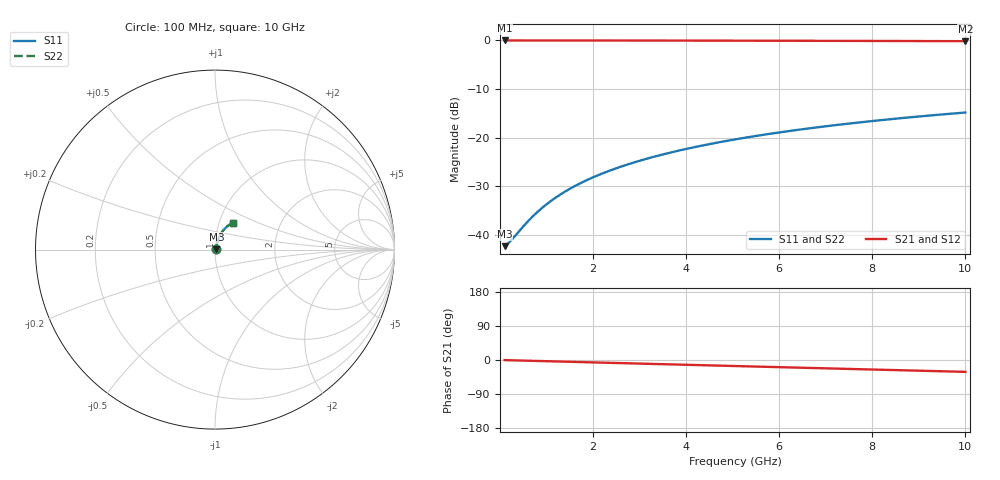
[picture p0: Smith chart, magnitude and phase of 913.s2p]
# Hz S RI R 50.00
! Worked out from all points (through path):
!   100 points, 100 MHz to 10 GHz, reference 50 ohm
!   highest |S21| = -0.06 dB at 100 MHz (marker M1); lowest = -0.2 dB at 10 GHz (marker M2)
!   group delay of S21, straight-line fit = 8.7 ps
!   lowest |S11| = -42.3 dB at 100 MHz (marker M3), VSWR 1.02, Z = 50.7 + j0.191 ohm
!   |S11| at or under -10 dB: start of sweep to end of sweep
!   |S22| runs from -42.3 to -14.9 dB; largest |S21 - S12| = 0
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1e8  0.00744 0.00188  0.9925 -0.00547  0.9925 -0.00547  0.00744 0.00188
2e8  0.00752 0.00376  0.9924 -0.0109  0.9924 -0.0109  0.00752 0.00376
3e8  0.00761 0.00563  0.9923 -0.0164  0.9923 -0.0164  0.00761 0.00563
5e8  0.00782 0.00938  0.992 -0.0273  0.992 -0.0273  0.00782 0.00938
7e8  0.00811 0.0131  0.9915 -0.0383  0.9915 -0.0383  0.00811 0.0131
9e8  0.00848 0.0169  0.991 -0.0492  0.991 -0.0492  0.00848 0.0169
1.1e9  0.00892 0.0206  0.9903 -0.0601  0.9903 -0.0601  0.00892 0.0206
1.3e9  0.00944 0.0243  0.9894 -0.071  0.9894 -0.071  0.00944 0.0243
1.5e9  0.01 0.028  0.9885 -0.0819  0.9885 -0.0819  0.01 0.028
1.8e9  0.0111 0.0335  0.9867 -0.0982  0.9867 -0.0982  0.0111 0.0335
2.1e9  0.0123 0.039  0.9847 -0.1145  0.9847 -0.1145  0.0123 0.039
2.5e9  0.0142 0.0463  0.9816 -0.1361  0.9816 -0.1361  0.0142 0.0463
2.9e9  0.0165 0.0534  0.978 -0.1576  0.978 -0.1576  0.0165 0.0534
3.4e9  0.0197 0.0622  0.9727 -0.1843  0.9727 -0.1843  0.0197 0.0622
3.8e9  0.0226 0.0691  0.9679 -0.2055  0.9679 -0.2055  0.0226 0.0691
4.2e9  0.0258 0.0758  0.9626 -0.2265  0.9626 -0.2265  0.0258 0.0758
5.1e9  0.0341 0.0903  0.9488 -0.2733  0.9488 -0.2733  0.0341 0.0903
5.9e9  0.0427 0.1025  0.9345 -0.314  0.9345 -0.314  0.0427 0.1025
6.7e9  0.0522 0.1139  0.9183 -0.3539  0.9183 -0.3539  0.0522 0.1139
7.5e9  0.0626 0.1243  0.9003 -0.3927  0.9003 -0.3927  0.0626 0.1243
8.4e9  0.0754 0.1349  0.878 -0.4351  0.878 -0.4351  0.0754 0.1349
1e10  0.1002 0.1503  0.8335 -0.5068  0.8335 -0.5068  0.1002 0.1503
